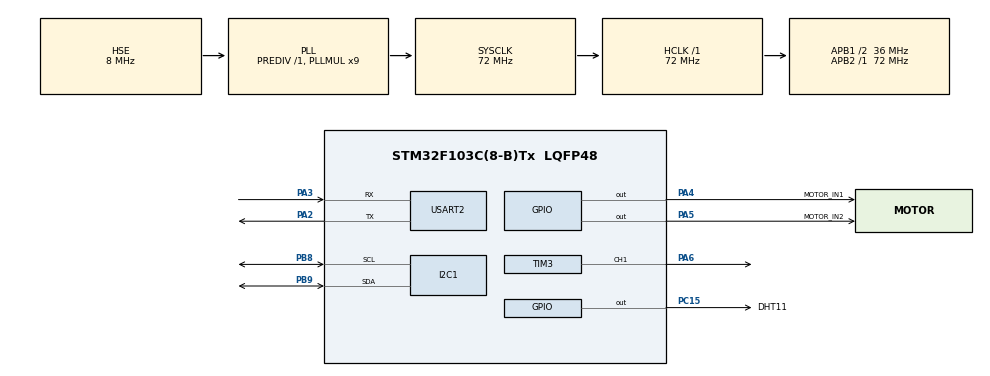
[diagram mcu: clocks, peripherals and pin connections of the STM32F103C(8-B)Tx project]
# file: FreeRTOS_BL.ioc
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FREERTOS.BinarySemaphores01=binReadDHTCplt,Dynamic,NULL;binRxRequest,Dynamic,NULL
FREERTOS.Queues01=motorQueue,16,uint16_t,0,Dynamic,NULL,NULL
FREERTOS.Tasks01=defaultTask,24,128,StartDefaultTask,Default,NULL,Dynamic,NULL,NULL;mytTaskReadDHT,14,128,StartTaskReadDHT,Default,NULL,Dynamic,NULL,NULL;myTaskTxUart,12,256,StartTaskTxUart,Default,NULL,Dynamic,NULL,NULL;myTaskHandleUart,13,128,StartTaskHandleUart,Default,NULL,Dynamic,NULL,NULL;myTaskMotorControl,15,128,StartTaskMotorControl,Default,NULL,Dynamic,NULL,NULL
FREERTOS.configMAX_TASK_NAME_LEN=20
FREERTOS.configMINIMAL_STACK_SIZE=128
FREERTOS.configTOTAL_HEAP_SIZE=8192
FREERTOS.configUSE_NEWLIB_REENTRANT=1
Mcu.Family=STM32F1
Mcu.Name=STM32F103C(8-B)Tx
Mcu.Package=LQFP48
NVIC.PriorityGroup=NVIC_PRIORITYGROUP_4
NVIC.TIM4_IRQn=true\:15\:0\:false\:false\:true\:false\:false\:true\:true
NVIC.TimeBase=TIM4_IRQn
NVIC.TimeBaseIP=TIM4
NVIC.USART2_IRQn=true\:5\:0\:false\:false\:true\:true\:true\:true\:true
PA13.Mode=Serial_Wire
PA13.Signal=SYS_JTMS-SWDIO
PA14.Mode=Serial_Wire
PA14.Signal=SYS_JTCK-SWCLK
PA2.Mode=Asynchronous
PA2.Signal=USART2_TX
PA3.Mode=Asynchronous
PA3.Signal=USART2_RX
PA4.GPIO_Label=MOTOR_IN1
PA4.Signal=GPIO_Output
PA5.GPIO_Label=MOTOR_IN2
PA5.Signal=GPIO_Output
PA6.Signal=S_TIM3_CH1
PB8.Mode=I2C
PB8.Signal=I2C1_SCL
PB9.Mode=I2C
PB9.Signal=I2C1_SDA
PC15-OSC32_OUT.GPIO_Label=DHT11
PC15-OSC32_OUT.Signal=GPIO_Output
PD0-OSC_IN.Mode=HSE-External-Oscillator
PD0-OSC_IN.Signal=RCC_OSC_IN
PD1-OSC_OUT.Mode=HSE-External-Oscillator
PD1-OSC_OUT.Signal=RCC_OSC_OUT
ProjectManager.HeapSize=0x200
ProjectManager.StackSize=0x400
ProjectManager.TargetToolchain=STM32CubeIDE
RCC.AHBFreq_Value=72000000
RCC.APB1CLKDivider=RCC_HCLK_DIV2
RCC.APB1Freq_Value=36000000
RCC.APB1TimFreq_Value=72000000
RCC.APB2Freq_Value=72000000
RCC.APB2TimFreq_Value=72000000
RCC.HCLKFreq_Value=72000000
RCC.PLLMUL=RCC_PLL_MUL9
RCC.PLLSourceVirtual=RCC_PLLSOURCE_HSE
RCC.SYSCLKFreq_VALUE=72000000
RCC.SYSCLKSource=RCC_SYSCLKSOURCE_PLLCLK
RCC.USBFreq_Value=72000000
SH.S_TIM3_CH1.0=TIM3_CH1,PWM Generation1 CH1
TIM2.Prescaler=71
TIM3.Channel-PWM\ Generation1\ CH1=TIM_CHANNEL_1
TIM3.Period=999
TIM3.Prescaler=719
USART2.VirtualMode=VM_ASYNC
VP_FREERTOS_VS_CMSIS_V2.Mode=CMSIS_V2
VP_SYS_VS_tim4.Mode=TIM4
VP_TIM2_VS_ClockSourceINT.Mode=Internal
VP_TIM3_VS_ClockSourceINT.Mode=Internal
board=custom

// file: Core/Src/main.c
/* USER CODE BEGIN Header */
/**
  ******************************************************************************
  * @file           : main.c
  * @brief          : Main program body
  ******************************************************************************
  * @attention
  *
  * Copyright (c) 2023 STMicroelectronics.
  * All rights reserved.
  *
  * This software is licensed under terms that can be found in the LICENSE file
  * in the root directory of this software component.
  * If no LICENSE file comes with this software, it is provided AS-IS.
  *
  ******************************************************************************
  */
/* USER CODE END Header */
#include "main.h"
#include "cmsis_os.h"

/* USER CODE BEGIN Includes */
#include <stdio.h>
#include <stdarg.h>
#include <string.h>

#include "dht.h"
#include "delay_timer.h"
#include "LiquidCrystal_I2C.h"
#include "uart_handle.h"
#include "dc_motor.h"

#include "handle.h"
#include "handle_task.h"
/* USER CODE END Includes */

I2C_HandleTypeDef hi2c1;

TIM_HandleTypeDef htim2;
TIM_HandleTypeDef htim3;

UART_HandleTypeDef huart2;

/* Definitions for defaultTask */
osThreadId_t defaultTaskHandle;
const osThreadAttr_t defaultTask_attributes = {
  .name = "defaultTask",
  .stack_size = 128 * 4,
  .priority = (osPriority_t) osPriorityNormal,
};
/* Definitions for mytTaskReadDHT */
osThreadId_t mytTaskReadDHTHandle;
const osThreadAttr_t mytTaskReadDHT_attributes = {
  .name = "mytTaskReadDHT",
  .stack_size = 128 * 4,
  .priority = (osPriority_t) osPriorityLow6,
};
/* Definitions for myTaskTxUart */
osThreadId_t myTaskTxUartHandle;
const osThreadAttr_t myTaskTxUart_attributes = {
  .name = "myTaskTxUart",
  .stack_size = 256 * 4,
  .priority = (osPriority_t) osPriorityLow4,
};
/* Definitions for myTaskHandleUart */
osThreadId_t myTaskHandleUartHandle;
const osThreadAttr_t myTaskHandleUart_attributes = {
  .name = "myTaskHandleUart",
  .stack_size = 128 * 4,
  .priority = (osPriority_t) osPriorityLow5,
};
/* Definitions for myTaskMotorControl */
osThreadId_t myTaskMotorControlHandle;
const osThreadAttr_t myTaskMotorControl_attributes = {
  .name = "myTaskMotorControl",
  .stack_size = 128 * 4,
  .priority = (osPriority_t) osPriorityLow7,
};
/* Definitions for motorQueue */
osMessageQueueId_t motorQueueHandle;
const osMessageQueueAttr_t motorQueue_attributes = {
  .name = "motorQueue"
};
/* Definitions for binReadDHTCplt */
osSemaphoreId_t binReadDHTCpltHandle;
const osSemaphoreAttr_t binReadDHTCplt_attributes = {
  .name = "binReadDHTCplt"
};
/* Definitions for binRxRequest */
osSemaphoreId_t binRxRequestHandle;
const osSemaphoreAttr_t binRxRequest_attributes = {
  .name = "binRxRequest"
};
/* USER CODE BEGIN PV */
DHT_HandleTypeDef DHT11;
LiquidCrystal_I2C LCD;
DC_Motor_HandleTypeDef MOTOR;

int8_t Temp_levels[NUMBER_LEVELS + 1];
uint8_t RHumi_levels[NUMBER_LEVELS + 1];

uint8_t Speed_Temp_mode[NUMBER_LEVELS] = {0};
uint8_t Speed_RHumi_mode[NUMBER_LEVELS] = {0};

MODE controll_mode = MANUAL_MODE;

volatile char Rx_data[RX_DATA_SIZE];

/* USER CODE END PV */

void SystemClock_Config(void);
static void MX_GPIO_Init(void);
static void MX_USART2_UART_Init(void);
static void MX_I2C1_Init(void);
static void MX_TIM2_Init(void);
static void MX_TIM3_Init(void);
void StartDefaultTask(void *argument);
void StartTaskReadDHT(void *argument);
void StartTaskTxUart(void *argument);
void StartTaskHandleUart(void *argument);
void StartTaskMotorControl(void *argument);

/* USER CODE BEGIN PFP */
void TX_uart(UART_HandleTypeDef *lcd,const char* str, ...);
int __io_putchar(int ch);
void speed_control();
/* USER CODE END PFP */

/* USER CODE BEGIN 0 */

//uint8_t str[] = "hello FreeRTOS\n";
//float temp = 16;
uint8_t Rx_char;
uint8_t Rx_index = 0;
void HAL_UART_RxCpltCallback(UART_HandleTypeDef *huart) {

	if(huart->Instance == USART2){
		if (Rx_char == '\n') {
			Rx_data[Rx_index] = '\0';
			Rx_index = 0;

			osSemaphoreRelease(binRxRequestHandle);
		} else {
			Rx_data[Rx_index++] = Rx_char;
		}
		HAL_UART_Receive_IT(&huart2, &Rx_char, 1);
	}
}

/* USER CODE END 0 */

int main(void)
{
  /* USER CODE BEGIN 1 */
	Temp_levels[0] = DHT11_MIN_TEMPERATURE;
	Temp_levels[NUMBER_LEVELS] = DHT11_MAX_TEMPERATURE;
	RHumi_levels[0] = DHT11_MIN_RELATIVE_HUMIDITY;
	RHumi_levels[NUMBER_LEVELS] = DHT11_MAX_RELATIVE_HUMIDITY;
  /* USER CODE END 1 */

  /* MCU Configuration--------------------------------------------------------*/

  /* Reset of all peripherals, Initializes the Flash interface and the Systick. */
  HAL_Init();

  /* Configure the system clock */
  SystemClock_Config();

  /* Initialize all configured peripherals */
  MX_GPIO_Init();
  MX_USART2_UART_Init();
  MX_I2C1_Init();
  MX_TIM2_Init();
  MX_TIM3_Init();
  /* USER CODE BEGIN 2 */
  HAL_TIM_PWM_Start(&htim3,TIM_CHANNEL_1);
  HAL_UART_Receive_IT(&huart2, &Rx_char, 1);
//  HAL_UART_Receive_DMA(&huart2, (uint8_t *)Rx_data, RX_DATA_SIZE);

  DHT_Init(&DHT11, &htim2, DHT11_GPIO_Port, DHT11_Pin);
  lcd_init(&LCD, &hi2c1, LCD_ADDR_DEFAULT);
  DC_Motor_Init(&MOTOR, &htim3,TIM_CHANNEL_1, MOTOR_IN1_GPIO_Port, MOTOR_IN1_Pin, MOTOR_IN2_GPIO_Port, MOTOR_IN2_Pin);
  HAL_Delay(2000);
  /* USER CODE END 2 */

  /* Init scheduler */
  osKernelInitialize();

  /* Create the semaphores(s) */
  /* creation of binReadDHTCplt */
  binReadDHTCpltHandle = osSemaphoreNew(1, 1, &binReadDHTCplt_attributes);

  /* creation of binRxRequest */
  binRxRequestHandle = osSemaphoreNew(1, 1, &binRxRequest_attributes);

  /* Create the queue(s) */
  /* creation of motorQueue */
  motorQueueHandle = osMessageQueueNew (16, sizeof(uint16_t), &motorQueue_attributes);

  /* Create the thread(s) */
  /* creation of defaultTask */
  defaultTaskHandle = osThreadNew(StartDefaultTask, NULL, &defaultTask_attributes);

  /* creation of mytTaskReadDHT */
  mytTaskReadDHTHandle = osThreadNew(StartTaskReadDHT, NULL, &mytTaskReadDHT_attributes);

  /* creation of myTaskTxUart */
  myTaskTxUartHandle = osThreadNew(StartTaskTxUart, NULL, &myTaskTxUart_attributes);

  /* creation of myTaskHandleUart */
  myTaskHandleUartHandle = osThreadNew(StartTaskHandleUart, NULL, &myTaskHandleUart_attributes);

  /* creation of myTaskMotorControl */
  myTaskMotorControlHandle = osThreadNew(StartTaskMotorControl, NULL, &myTaskMotorControl_attributes);

  /* Start scheduler */
  osKernelStart();
  /* We should never get here as control is now taken by the scheduler */
  /* Infinite loop */
  while (1)
  {

  }
}

void SystemClock_Config(void)
{
  RCC_OscInitTypeDef RCC_OscInitStruct = {0};
  RCC_ClkInitTypeDef RCC_ClkInitStruct = {0};

  /** Initializes the RCC Oscillators according to the specified parameters
  * in the RCC_OscInitTypeDef structure.
  */
  RCC_OscInitStruct.OscillatorType = RCC_OSCILLATORTYPE_HSE;
  RCC_OscInitStruct.HSEState = RCC_HSE_ON;
  RCC_OscInitStruct.HSEPredivValue = RCC_HSE_PREDIV_DIV1;
  RCC_OscInitStruct.HSIState = RCC_HSI_ON;
  RCC_OscInitStruct.PLL.PLLState = RCC_PLL_ON;
  RCC_OscInitStruct.PLL.PLLSource = RCC_PLLSOURCE_HSE;
  RCC_OscInitStruct.PLL.PLLMUL = RCC_PLL_MUL9;
  if (HAL_RCC_OscConfig(&RCC_OscInitStruct) != HAL_OK)
  {
    Error_Handler();
  }

  /** Initializes the CPU, AHB and APB buses clocks
  */
  RCC_ClkInitStruct.ClockType = RCC_CLOCKTYPE_HCLK|RCC_CLOCKTYPE_SYSCLK
                              |RCC_CLOCKTYPE_PCLK1|RCC_CLOCKTYPE_PCLK2;
  RCC_ClkInitStruct.SYSCLKSource = RCC_SYSCLKSOURCE_PLLCLK;
  RCC_ClkInitStruct.AHBCLKDivider = RCC_SYSCLK_DIV1;
  RCC_ClkInitStruct.APB1CLKDivider = RCC_HCLK_DIV2;
  RCC_ClkInitStruct.APB2CLKDivider = RCC_HCLK_DIV1;

  if (HAL_RCC_ClockConfig(&RCC_ClkInitStruct, FLASH_LATENCY_2) != HAL_OK)
  {
    Error_Handler();
  }
}

static void MX_I2C1_Init(void)
{

  hi2c1.Instance = I2C1;
  hi2c1.Init.ClockSpeed = 100000;
  hi2c1.Init.DutyCycle = I2C_DUTYCYCLE_2;
  hi2c1.Init.OwnAddress1 = 0;
  hi2c1.Init.AddressingMode = I2C_ADDRESSINGMODE_7BIT;
  hi2c1.Init.DualAddressMode = I2C_DUALADDRESS_DISABLE;
  hi2c1.Init.OwnAddress2 = 0;
  hi2c1.Init.GeneralCallMode = I2C_GENERALCALL_DISABLE;
  hi2c1.Init.NoStretchMode = I2C_NOSTRETCH_DISABLE;
  if (HAL_I2C_Init(&hi2c1) != HAL_OK)
  {
    Error_Handler();
  }

}

static void MX_TIM2_Init(void)
{

  TIM_ClockConfigTypeDef sClockSourceConfig = {0};
  TIM_MasterConfigTypeDef sMasterConfig = {0};

  htim2.Instance = TIM2;
  htim2.Init.Prescaler = 71;
  htim2.Init.CounterMode = TIM_COUNTERMODE_UP;
  htim2.Init.Period = 65535;
  htim2.Init.ClockDivision = TIM_CLOCKDIVISION_DIV1;
  htim2.Init.AutoReloadPreload = TIM_AUTORELOAD_PRELOAD_DISABLE;
  if (HAL_TIM_Base_Init(&htim2) != HAL_OK)
  {
    Error_Handler();
  }
  sClockSourceConfig.ClockSource = TIM_CLOCKSOURCE_INTERNAL;
  if (HAL_TIM_ConfigClockSource(&htim2, &sClockSourceConfig) != HAL_OK)
  {
    Error_Handler();
  }
  sMasterConfig.MasterOutputTrigger = TIM_TRGO_RESET;
  sMasterConfig.MasterSlaveMode = TIM_MASTERSLAVEMODE_DISABLE;
  if (HAL_TIMEx_MasterConfigSynchronization(&htim2, &sMasterConfig) != HAL_OK)
  {
    Error_Handler();
  }

}

static void MX_TIM3_Init(void)
{

  TIM_ClockConfigTypeDef sClockSourceConfig = {0};
  TIM_MasterConfigTypeDef sMasterConfig = {0};
  TIM_OC_InitTypeDef sConfigOC = {0};

  htim3.Instance = TIM3;
  htim3.Init.Prescaler = 719;
  htim3.Init.CounterMode = TIM_COUNTERMODE_UP;
  htim3.Init.Period = 999;
  htim3.Init.ClockDivision = TIM_CLOCKDIVISION_DIV1;
  htim3.Init.AutoReloadPreload = TIM_AUTORELOAD_PRELOAD_DISABLE;
  if (HAL_TIM_Base_Init(&htim3) != HAL_OK)
  {
    Error_Handler();
  }
  sClockSourceConfig.ClockSource = TIM_CLOCKSOURCE_INTERNAL;
  if (HAL_TIM_ConfigClockSource(&htim3, &sClockSourceConfig) != HAL_OK)
  {
    Error_Handler();
  }
  if (HAL_TIM_PWM_Init(&htim3) != HAL_OK)
  {
    Error_Handler();
  }
  sMasterConfig.MasterOutputTrigger = TIM_TRGO_RESET;
  sMasterConfig.MasterSlaveMode = TIM_MASTERSLAVEMODE_DISABLE;
  if (HAL_TIMEx_MasterConfigSynchronization(&htim3, &sMasterConfig) != HAL_OK)
  {
    Error_Handler();
  }
  sConfigOC.OCMode = TIM_OCMODE_PWM1;
  sConfigOC.Pulse = 0;
  sConfigOC.OCPolarity = TIM_OCPOLARITY_HIGH;
  sConfigOC.OCFastMode = TIM_OCFAST_DISABLE;
  if (HAL_TIM_PWM_ConfigChannel(&htim3, &sConfigOC, TIM_CHANNEL_1) != HAL_OK)
  {
    Error_Handler();
  }
  HAL_TIM_MspPostInit(&htim3);

}

static void MX_USART2_UART_Init(void)
{

  huart2.Instance = USART2;
  huart2.Init.BaudRate = 115200;
  huart2.Init.WordLength = UART_WORDLENGTH_8B;
  huart2.Init.StopBits = UART_STOPBITS_1;
  huart2.Init.Parity = UART_PARITY_NONE;
  huart2.Init.Mode = UART_MODE_TX_RX;
  huart2.Init.HwFlowCtl = UART_HWCONTROL_NONE;
  huart2.Init.OverSampling = UART_OVERSAMPLING_16;
  if (HAL_UART_Init(&huart2) != HAL_OK)
  {
    Error_Handler();
  }

}

static void MX_GPIO_Init(void)
{
  GPIO_InitTypeDef GPIO_InitStruct = {0};

  /* GPIO Ports Clock Enable */
  __HAL_RCC_GPIOC_CLK_ENABLE();
  __HAL_RCC_GPIOD_CLK_ENABLE();
  __HAL_RCC_GPIOA_CLK_ENABLE();
  __HAL_RCC_GPIOB_CLK_ENABLE();

  /*Configure GPIO pin Output Level */
  HAL_GPIO_WritePin(DHT11_GPIO_Port, DHT11_Pin, GPIO_PIN_RESET);

  /*Configure GPIO pin Output Level */
  HAL_GPIO_WritePin(GPIOA, MOTOR_IN1_Pin|MOTOR_IN2_Pin, GPIO_PIN_RESET);

  /*Configure GPIO pin : DHT11_Pin */
  GPIO_InitStruct.Pin = DHT11_Pin;
  GPIO_InitStruct.Mode = GPIO_MODE_OUTPUT_PP;
  GPIO_InitStruct.Pull = GPIO_NOPULL;
  GPIO_InitStruct.Speed = GPIO_SPEED_FREQ_LOW;
  HAL_GPIO_Init(DHT11_GPIO_Port, &GPIO_InitStruct);

  /*Configure GPIO pins : MOTOR_IN1_Pin MOTOR_IN2_Pin */
  GPIO_InitStruct.Pin = MOTOR_IN1_Pin|MOTOR_IN2_Pin;
  GPIO_InitStruct.Mode = GPIO_MODE_OUTPUT_PP;
  GPIO_InitStruct.Pull = GPIO_NOPULL;
  GPIO_InitStruct.Speed = GPIO_SPEED_FREQ_LOW;
  HAL_GPIO_Init(GPIOA, &GPIO_InitStruct);

}

/* USER CODE BEGIN 4 */

int __io_putchar(int ch){
	HAL_StatusTypeDef ret = 0;
	ret = HAL_UART_Transmit(&huart2, (uint8_t *)&ch, 1, 0x10);
	if(ret != HAL_OK) {
		return -1;
	}
	return ch;
}

/*
 * @note Max length of data string is TX_ARRAY_SIZE
 */
void TX_uart(UART_HandleTypeDef *huart,const char* str, ...)
{
  char stringArray[TX_ARRAY_SIZE];

  va_list args;
  va_start(args, str);
  vsprintf(stringArray, str, args);
  va_end(args);

  HAL_UART_Transmit(huart, (uint8_t *)stringArray, strlen(stringArray), 100);
}

void speed_control() {
	switch (controll_mode) {
			case TEMPERATURE_MODE:
				HAL_GPIO_WritePin(MOTOR.Port_IN1, MOTOR.Pin_IN1, GPIO_PIN_RESET);
				HAL_GPIO_WritePin(MOTOR.Port_IN2, MOTOR.Pin_IN2, GPIO_PIN_SET);
				for (uint8_t i = 0; i < NUMBER_LEVELS; i++) {
	//				mul = DHT11.Temp;
					if (DHT11.Temp >= Temp_levels[i] && DHT11.Temp <= Temp_levels[i+1]){
	//					__HAL_TIM_SetCompare(MOTOR.Timer,MOTOR.TIMChanel, 900);
	//					__HAL_TIM_SetCompare(MOTOR.Timer,MOTOR.TIMChanel, Speed_Temp_mode[i]* MOTOR.Timer->Instance->ARR/100);

						__HAL_TIM_SetCompare(MOTOR.Timer,MOTOR.TIMChanel, Speed_Temp_mode[i]* MOTOR.Timer->Instance->ARR/100);
						break;
					}

				}
				break;
			case HUMIDITY_MODE:
				HAL_GPIO_WritePin(MOTOR.Port_IN1, MOTOR.Pin_IN1, GPIO_PIN_RESET);
				HAL_GPIO_WritePin(MOTOR.Port_IN2, MOTOR.Pin_IN2, GPIO_PIN_SET);
				for (uint8_t i = 0; i < NUMBER_LEVELS; ++i) {
					if (DHT11.Humi >= RHumi_levels[i] && DHT11.Humi <= RHumi_levels[i+1]){
						__HAL_TIM_SetCompare(MOTOR.Timer,MOTOR.TIMChanel, Speed_RHumi_mode[i]* MOTOR.Timer->Instance->ARR/100);
						break;
					}
				}
				break;
			case MANUAL_MODE:
	//			__HAL_TIM_SetCompare(MOTOR.Timer,MOTOR.TIMChanel, (int)MOTOR.setSpeed*MOTOR.Timer->Instance->ARR/100);
	//			__HAL_TIM_SetCompare(MOTOR.Timer,MOTOR.TIMChanel, 900);

				HAL_GPIO_WritePin(MOTOR.Port_IN1, MOTOR.Pin_IN1, GPIO_PIN_RESET);
				HAL_GPIO_WritePin(MOTOR.Port_IN2, MOTOR.Pin_IN2, GPIO_PIN_SET);

				__HAL_TIM_SetCompare(MOTOR.Timer,MOTOR.TIMChanel, (int)MOTOR.setSpeed*MOTOR.Timer->Instance->ARR/100);
				break;
			case MOTOR_STOP_MODE:
				HAL_GPIO_WritePin(MOTOR.Port_IN1, MOTOR.Pin_IN1, GPIO_PIN_RESET);
				HAL_GPIO_WritePin(MOTOR.Port_IN2, MOTOR.Pin_IN2, GPIO_PIN_RESET);
				break;
			default:
				HAL_GPIO_WritePin(MOTOR.Port_IN1, MOTOR.Pin_IN1, GPIO_PIN_RESET);
				HAL_GPIO_WritePin(MOTOR.Port_IN2, MOTOR.Pin_IN2, GPIO_PIN_RESET);
				break;
		}
}

/* USER CODE END 4 */

void StartDefaultTask(void *argument)
{
  /* USER CODE BEGIN 5 */
	__IO uint32_t ticks = osKernelGetTickCount();
  /* Infinite loop */
  for(;;)
  {
	  ticks += 1000;
//	  printf("%s", str);
	  osDelayUntil(ticks);
//    osDelay(1000);
  }
  /* USER CODE END 5 */
}

void StartTaskReadDHT(void *argument)
{
  /* USER CODE BEGIN StartTaskReadDHT */
	dht_err_t ret = DHT_OK;
	const uint16_t msg = SET_DHT_Q;
  /* Infinite loop */
  for(;;)
  {
	ret = DHT_ReadTempHum(&DHT11);
//	if (!ret) {
		osSemaphoreRelease(binReadDHTCpltHandle);
		osMessageQueuePut(motorQueueHandle, &msg, NULL, 0);
//	}
    osDelay(pdMS_TO_TICKS(2000));
  }
  /* USER CODE END StartTaskReadDHT */
}

void StartTaskTxUart(void *argument)
{
  /* USER CODE BEGIN StartTaskTxUart */
  /* Infinite loop */

  for(;;)
  {
	osSemaphoreAcquire(binReadDHTCpltHandle, osWaitForever);
	if (DHT11.Error) { // erorr
		TX_uart(&huart2, "DHT_STT %d\n", DHT11.Error);

		lcd_set_cursor(&LCD, 0, 0);
		lcd_printf(&LCD, "RH: __.__%%");
		lcd_set_cursor(&LCD, 1, 0);
		lcd_printf(&LCD, "Temp: __.__%cC", (char)223);

	} else {
		TX_uart(&huart2, "DHT_STT %d\nRH %f\nTEMP %f\n", DHT11.Error, DHT11.Humi, DHT11.Temp);

		lcd_set_cursor(&LCD, 0, 0);
		lcd_printf(&LCD, "RH: %.2f%%", DHT11.Humi);
		lcd_set_cursor(&LCD, 1, 0);
		lcd_printf(&LCD, "Temp: %.2f%cC", DHT11.Temp, (char)223);

	}
//    osDelay(pdMS_TO_TICKS(200));
  }
  /* USER CODE END StartTaskTxUart */
}

void StartTaskHandleUart(void *argument)
{
  /* USER CODE BEGIN StartTaskHandleUart */
	handle_err_t ret;
	uint16_t msg = SET_UART_Q;
  /* Infinite loop */
  for(;;)
  {
	  osSemaphoreAcquire(binRxRequestHandle, osWaitForever);
#ifdef DEBUG
	  TX_uart(&huart2, Rx_data);
#endif

	  ret = Get_Arg((char*)Rx_data);

	  if(!ret) {
	  	ret = Handle_Request();
	  	osMessageQueuePut(motorQueueHandle, &msg, NULL, 0);
	  }
#ifdef DEBUG
	  TX_uart(&huart2, "End H\n");
#endif
//    osDelay(pdMS_TO_TICKS(1000));
  }
  /* USER CODE END StartTaskHandleUart */
}

void StartTaskMotorControl(void *argument)
{
  /* USER CODE BEGIN StartTaskMotorControl */
	uint16_t msg;
  /* Infinite loop */
  for(;;)
  {
	  osMessageQueueGet(motorQueueHandle, &msg, 0, osWaitForever);
//			TX_uart(&huart2, "Set mod %d", msg);

	  switch (msg) {
		case SET_UART_Q :
			TX_uart(&huart2, "Set mod UART\n");
			speed_control();
//			HAL_GPIO_WritePin(MOTOR.Port_IN1, MOTOR.Pin_IN1, GPIO_PIN_RESET);
//			HAL_GPIO_WritePin(MOTOR.Port_IN2, MOTOR.Pin_IN2, GPIO_PIN_SET);
//
//			__HAL_TIM_SetCompare(MOTOR.Timer,MOTOR.TIMChanel, 900);

			TX_uart(&huart2, "Set mod UART END\n");

			break;
		case SET_DHT_Q :
			TX_uart(&huart2, "Set DHT\n");
			speed_control();
////			TX_uart(&huart2, "Set mod %d", msg);
			break;
		default:
			break;
	  }

//    osDelay(pdMS_TO_TICKS(1000));
  }
  /* USER CODE END StartTaskMotorControl */
}

void HAL_TIM_PeriodElapsedCallback(TIM_HandleTypeDef *htim)
{
  if (htim->Instance == TIM4) {
    HAL_IncTick();
  }
}

void Error_Handler(void)
{
  __disable_irq();
  while (1)
  {
  }
}
